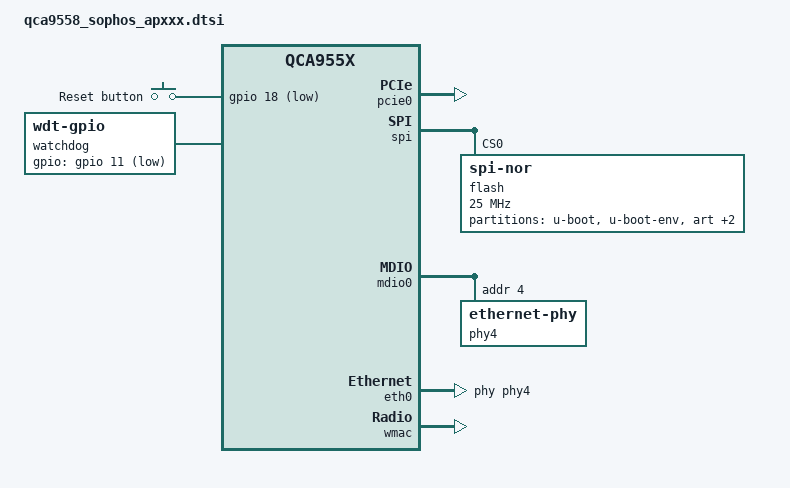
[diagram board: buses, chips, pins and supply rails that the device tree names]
// SPDX-License-Identifier: GPL-2.0-or-later OR MIT

/*
 * The hardware of this board family is most likely shared with other devices
 * from other manufacturers. Edimax appear to be the actual OEM.
 *
 * Sophos use the same exact board for the AP55C/AP100C, and AP55/AP100.
 * Yes, this means your AP55C is a 3x3 AP with a software lock, and your
 * AP55 is an AP100 with one missing antenna pigtail.
 *
 * AP55 and AP55C boards have different physical layouts, but are logically
 * almost identical. AP55/100 have a USB port which is DNF on the C models.
 *
 */

#include "qca955x.dtsi"

#include <dt-bindings/gpio/gpio.h>
#include <dt-bindings/input/input.h>

/ {
	keys {
		compatible = "gpio-keys";

		reset {
			label = "Reset button";
			linux,code = <KEY_RESTART>;
			gpios = <&gpio 18 GPIO_ACTIVE_LOW>;
			debounce-interval = <60>;
		};
	};

	watchdog {
		compatible = "linux,wdt-gpio";
		gpios = <&gpio 11 GPIO_ACTIVE_LOW>;
		hw_algo = "toggle";
		hw_margin_ms = <300>;
		always-running;
	};
};

&pcie0 {
	status = "okay";
};

&spi {
	status = "okay";

	flash@0 {
		compatible = "jedec,spi-nor";
		reg = <0>;
		spi-max-frequency = <25000000>;

		partitions {
			compatible = "fixed-partitions";
			#address-cells = <1>;
			#size-cells = <1>;

			partition@0 {
				label = "u-boot";
				reg = <0x000000 0x040000>;
				read-only;
			};

			partition@40000 {
				label = "u-boot-env";
				reg = <0x040000 0x010000>;
				read-only;
			};

			art: partition@50000 {
				label = "art";
				reg = <0x050000 0x010000>;
				read-only;
			};

			partition@60000 {
				label = "config";
				reg = <0x060000 0x010000>;
				read-only;
			};

			partition@70000 {
				compatible = "denx,uimage";
				label = "firmware";
				reg = <0x070000 0xf90000>;
			};
		};
	};
};

&mdio0 {
	status = "okay";
	phy-mask = <0x10>;

	phy4: ethernet-phy@4 {
		reg = <4>;
		eee-broken-100tx;
		eee-broken-1000t;
	};
};

&eth0 {
	status = "okay";

	nvmem-cells = <&macaddr_config_201a>;
	nvmem-cell-names = "mac-address";

	phy-handle = <&phy4>;

	gmac_config: gmac-config {
		device = <&gmac>;
		rgmii-enabled = <1>;
	};
};

&wmac {
	status = "okay";

	mtd-cal-data = <&art 0x1000>;
	nvmem-cells = <&macaddr_config_2004>;
	nvmem-cell-names = "mac-address";
};

&art {
	compatible = "nvmem-cells";
	#address-cells = <1>;
	#size-cells = <1>;

	macaddr_art_5006: macaddr@5006 {
		reg = <0x5006 0x6>;
	};

};

&config {
	compatible = "nvmem-cells";
	#address-cells = <1>;
	#size-cells = <1>;

	macaddr_config_2004: macaddr@2004 {
		reg = <0x2004 0x6>;
	};

	macaddr_config_201a: macaddr@201a {
		reg = <0x201a 0x6>;
	};
};
